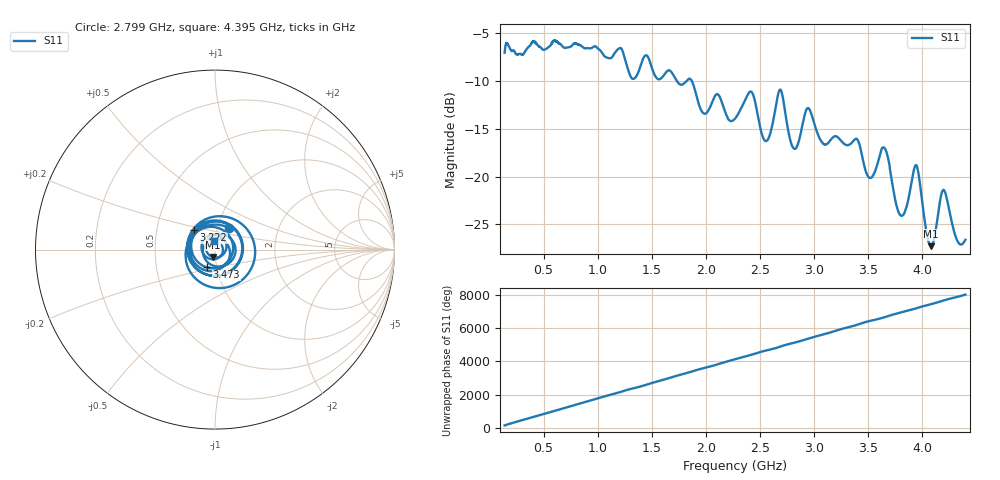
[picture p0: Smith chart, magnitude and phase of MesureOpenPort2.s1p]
! 140 4400 1
# MHz S MA R 50.0
!freq ReS11 ImS11
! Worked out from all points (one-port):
!   4260 points, 140 MHz to 4.399 GHz, reference 50 ohm
!   lowest |S11| = -27.3 dB at 4.083 GHz (marker M1), VSWR 1.09, Z = 48.5 - j4 ohm
!   |S11| at or under -10 dB: 1.731 GHz to 1.825 GHz (94.36 MHz wide, 5.31 % of centre); 1.869 GHz to end of sweep
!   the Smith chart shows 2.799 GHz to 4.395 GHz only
!   S11 on the Smith chart (normalised r, x): 2.799 GHz: 1.14, +0.28; 3.222 GHz: 0.78, +0.18; 3.473 GHz: 0.90, -0.18; 4.395 GHz: 0.98, +0.09
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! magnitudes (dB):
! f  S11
! 140 MHz  -7.1
! 673 MHz  -6.4
! 1.205 GHz  -6.6
! 1.322 GHz  -9.8
! 1.447 GHz  -7.3
! 1.738 GHz  -10.1
! 2.27 GHz  -14.0
! 2.42 GHz  -11.1
! 2.562 GHz  -16.3
! 2.689 GHz  -10.9
! 2.799 GHz  -16.8
! 2.802 GHz  -16.9
! 2.943 GHz  -12.9
! 3.082 GHz  -16.5
! 3.222 GHz  -15.9
! 3.335 GHz  -16.6
! 3.404 GHz  -16.2
! 3.473 GHz  -19.2
! 3.536 GHz  -20.1
! 3.648 GHz  -17.0
! 3.783 GHz  -23.8
! 3.867 GHz  -22.6
! 3.949 GHz  -18.9
! 4.083 GHz  -27.3
! 4.196 GHz  -21.4
! 4.32 GHz  -26.6
! 4.395 GHz  -26.7
! 4.399 GHz  -26.6
